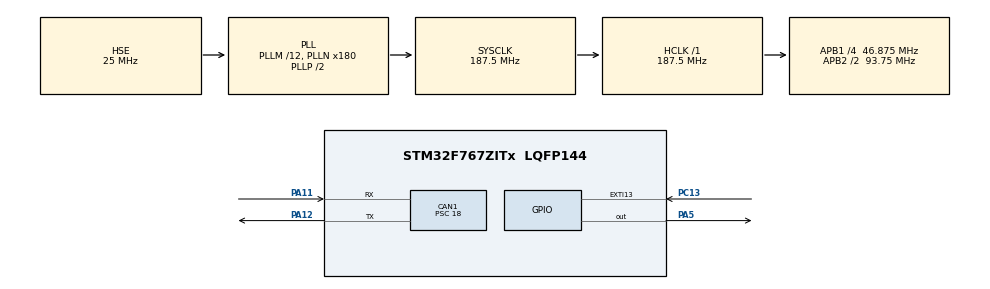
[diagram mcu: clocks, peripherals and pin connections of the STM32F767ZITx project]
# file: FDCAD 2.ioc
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CAN1.BS1=CAN_BS1_2TQ
CAN1.BS2=CAN_BS2_2TQ
CAN1.CalculateBaudRate=520833
CAN1.CalculateTimeBit=1920
CAN1.CalculateTimeQuantum=384.0
CAN1.Prescaler=18
CORTEX_M7.default_mode_Activation=1
Mcu.Family=STM32F7
Mcu.Name=STM32F767ZITx
Mcu.Package=LQFP144
NVIC.CAN1_RX0_IRQn=true\:0\:0\:false\:false\:true\:true\:true\:true
NVIC.PriorityGroup=NVIC_PRIORITYGROUP_4
PA11.Mode=CAN_Activate
PA11.Signal=CAN1_RX
PA12.Mode=CAN_Activate
PA12.Signal=CAN1_TX
PA5.Signal=GPIO_Output
PC13.Signal=GPXTI13
PH0/OSC_IN.Mode=HSE-External-Oscillator
PH0/OSC_IN.Signal=RCC_OSC_IN
PH1/OSC_OUT.Mode=HSE-External-Oscillator
PH1/OSC_OUT.Signal=RCC_OSC_OUT
ProjectManager.HeapSize=0x200
ProjectManager.StackSize=0x400
ProjectManager.TargetToolchain=STM32CubeIDE
RCC.AHBFreq_Value=187500000
RCC.APB1CLKDivider=RCC_HCLK_DIV4
RCC.APB1Freq_Value=46875000
RCC.APB1TimFreq_Value=93750000
RCC.APB2CLKDivider=RCC_HCLK_DIV2
RCC.APB2Freq_Value=93750000
RCC.APB2TimFreq_Value=187500000
RCC.CortexFreq_Value=187500000
RCC.HCLKFreq_Value=187500000
RCC.HSE_VALUE=25000000
RCC.HSI_VALUE=16000000
RCC.LSE_VALUE=32768
RCC.PLLM=12
RCC.PLLN=180
RCC.PLLSourceVirtual=RCC_PLLSOURCE_HSE
RCC.SYSCLKFreq_VALUE=187500000
RCC.SYSCLKSource=RCC_SYSCLKSOURCE_PLLCLK
RCC.USBFreq_Value=187500000
RCC.VCOOutputFreq_Value=375000000
VP_RTC_VS_RTC_Activate.Mode=RTC_Enabled
board=custom

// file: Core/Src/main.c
/* USER CODE BEGIN Header */
/**
  ******************************************************************************
  * @file           : main.c
  * @brief          : Main program body
  ******************************************************************************
  * @attention
  *
  * Copyright (c) 2024 STMicroelectronics.
  * All rights reserved.
  *
  * This software is licensed under terms that can be found in the LICENSE file
  * in the root directory of this software component.
  * If no LICENSE file comes with this software, it is provided AS-IS.
  *
  ******************************************************************************
  */
/* USER CODE END Header */
#include "main.h"
#include <string.h>

CAN_HandleTypeDef hcan1;

RTC_HandleTypeDef hrtc;

/* USER CODE BEGIN PV */
CAN_TxHeaderTypeDef TxHeader;
uint32_t TxMailbox;
uint8_t TxData[8];

void CAN_Transmit(void)
{
	char message[] = "rishabh";
    TxHeader.DLC = 7;  // Data length code (number of bytes)
    TxHeader.StdId = 0x321;  // Standard identifier (11-bit)
    TxHeader.IDE = CAN_ID_STD;  // Standard ID (not extended)
    TxHeader.RTR = CAN_RTR_DATA;  // Data frame, not a remote frame

    memcpy(TxData, message, sizeof(message)-1);

    if (HAL_CAN_AddTxMessage(&hcan1, &TxHeader, TxData, &TxMailbox) != HAL_OK)
    {
        Error_Handler();  // Error handling if message transmission fails
    }
}

CAN_RxHeaderTypeDef RxHeader;
uint8_t RxData[8];

void CAN_Receive(void)
{
    if (HAL_CAN_GetRxMessage(&hcan1, CAN_RX_FIFO0, &RxHeader, RxData) == HAL_OK)
    {
        // Process received data (RxData array contains received bytes)
    }
    else
    {
        Error_Handler();  // Error handling if message reception fails
    }
}
/* USER CODE END PV */

void SystemClock_Config(void);
static void MPU_Config(void);
static void MX_GPIO_Init(void);
static void MX_CAN1_Init(void);
static void MX_RTC_Init(void);

int main(void)
{

  /* MPU Configuration--------------------------------------------------------*/
  MPU_Config();

  /* MCU Configuration--------------------------------------------------------*/

  /* Reset of all peripherals, Initializes the Flash interface and the Systick. */
  HAL_Init();

  /* Configure the system clock */
  SystemClock_Config();

  /* Initialize all configured peripherals */
  MX_GPIO_Init();
  MX_CAN1_Init();
  MX_RTC_Init();

  /* Infinite loop */
  while (1)
  {

	  CAN_Transmit();  // Example transmission

	      // Alternatively, check for received messages
	  CAN_Receive();

	  HAL_Delay(1000);  // Add some delay between transmissions for testing
  }
}

void SystemClock_Config(void)
{
  RCC_OscInitTypeDef RCC_OscInitStruct = {0};
  RCC_ClkInitTypeDef RCC_ClkInitStruct = {0};

  /** Configure the main internal regulator output voltage
  */
  __HAL_RCC_PWR_CLK_ENABLE();
  __HAL_PWR_VOLTAGESCALING_CONFIG(PWR_REGULATOR_VOLTAGE_SCALE1);

  /** Initializes the RCC Oscillators according to the specified parameters
  * in the RCC_OscInitTypeDef structure.
  */
  RCC_OscInitStruct.OscillatorType = RCC_OSCILLATORTYPE_LSI|RCC_OSCILLATORTYPE_HSE;
  RCC_OscInitStruct.HSEState = RCC_HSE_ON;
  RCC_OscInitStruct.LSIState = RCC_LSI_ON;
  RCC_OscInitStruct.PLL.PLLState = RCC_PLL_ON;
  RCC_OscInitStruct.PLL.PLLSource = RCC_PLLSOURCE_HSE;
  RCC_OscInitStruct.PLL.PLLM = 12;
  RCC_OscInitStruct.PLL.PLLN = 180;
  RCC_OscInitStruct.PLL.PLLP = RCC_PLLP_DIV2;
  RCC_OscInitStruct.PLL.PLLQ = 2;
  RCC_OscInitStruct.PLL.PLLR = 2;
  if (HAL_RCC_OscConfig(&RCC_OscInitStruct) != HAL_OK)
  {
    Error_Handler();
  }

  /** Activate the Over-Drive mode
  */
  if (HAL_PWREx_EnableOverDrive() != HAL_OK)
  {
    Error_Handler();
  }

  /** Initializes the CPU, AHB and APB buses clocks
  */
  RCC_ClkInitStruct.ClockType = RCC_CLOCKTYPE_HCLK|RCC_CLOCKTYPE_SYSCLK
                              |RCC_CLOCKTYPE_PCLK1|RCC_CLOCKTYPE_PCLK2;
  RCC_ClkInitStruct.SYSCLKSource = RCC_SYSCLKSOURCE_PLLCLK;
  RCC_ClkInitStruct.AHBCLKDivider = RCC_SYSCLK_DIV1;
  RCC_ClkInitStruct.APB1CLKDivider = RCC_HCLK_DIV4;
  RCC_ClkInitStruct.APB2CLKDivider = RCC_HCLK_DIV2;

  if (HAL_RCC_ClockConfig(&RCC_ClkInitStruct, FLASH_LATENCY_6) != HAL_OK)
  {
    Error_Handler();
  }
}

static void MX_CAN1_Init(void)
{

  hcan1.Instance = CAN1;
  hcan1.Init.Prescaler = 18;
  hcan1.Init.Mode = CAN_MODE_NORMAL;
  hcan1.Init.SyncJumpWidth = CAN_SJW_1TQ;
  hcan1.Init.TimeSeg1 = CAN_BS1_2TQ;
  hcan1.Init.TimeSeg2 = CAN_BS2_2TQ;
  hcan1.Init.TimeTriggeredMode = DISABLE;
  hcan1.Init.AutoBusOff = DISABLE;
  hcan1.Init.AutoWakeUp = DISABLE;
  hcan1.Init.AutoRetransmission = DISABLE;
  hcan1.Init.ReceiveFifoLocked = DISABLE;
  hcan1.Init.TransmitFifoPriority = DISABLE;
  if (HAL_CAN_Init(&hcan1) != HAL_OK)
  {
    Error_Handler();
  }

}

static void MX_RTC_Init(void)
{

  /** Initialize RTC Only
  */
  hrtc.Instance = RTC;
  hrtc.Init.HourFormat = RTC_HOURFORMAT_24;
  hrtc.Init.AsynchPrediv = 127;
  hrtc.Init.SynchPrediv = 255;
  hrtc.Init.OutPut = RTC_OUTPUT_DISABLE;
  hrtc.Init.OutPutPolarity = RTC_OUTPUT_POLARITY_HIGH;
  hrtc.Init.OutPutType = RTC_OUTPUT_TYPE_OPENDRAIN;
  if (HAL_RTC_Init(&hrtc) != HAL_OK)
  {
    Error_Handler();
  }

}

static void MX_GPIO_Init(void)
{
  GPIO_InitTypeDef GPIO_InitStruct = {0};

  /* GPIO Ports Clock Enable */
  __HAL_RCC_GPIOC_CLK_ENABLE();
  __HAL_RCC_GPIOH_CLK_ENABLE();
  __HAL_RCC_GPIOA_CLK_ENABLE();

  /*Configure GPIO pin Output Level */
  HAL_GPIO_WritePin(GPIOA, GPIO_PIN_5, GPIO_PIN_RESET);

  /*Configure GPIO pin : PC13 */
  GPIO_InitStruct.Pin = GPIO_PIN_13;
  GPIO_InitStruct.Mode = GPIO_MODE_IT_RISING;
  GPIO_InitStruct.Pull = GPIO_NOPULL;
  HAL_GPIO_Init(GPIOC, &GPIO_InitStruct);

  /*Configure GPIO pin : PA5 */
  GPIO_InitStruct.Pin = GPIO_PIN_5;
  GPIO_InitStruct.Mode = GPIO_MODE_OUTPUT_PP;
  GPIO_InitStruct.Pull = GPIO_NOPULL;
  GPIO_InitStruct.Speed = GPIO_SPEED_FREQ_LOW;
  HAL_GPIO_Init(GPIOA, &GPIO_InitStruct);

}

 /* MPU Configuration */

void MPU_Config(void)
{
  MPU_Region_InitTypeDef MPU_InitStruct = {0};

  /* Disables the MPU */
  HAL_MPU_Disable();

  /** Initializes and configures the Region and the memory to be protected
  */
  MPU_InitStruct.Enable = MPU_REGION_ENABLE;
  MPU_InitStruct.Number = MPU_REGION_NUMBER0;
  MPU_InitStruct.BaseAddress = 0x0;
  MPU_InitStruct.Size = MPU_REGION_SIZE_4GB;
  MPU_InitStruct.SubRegionDisable = 0x87;
  MPU_InitStruct.TypeExtField = MPU_TEX_LEVEL0;
  MPU_InitStruct.AccessPermission = MPU_REGION_NO_ACCESS;
  MPU_InitStruct.DisableExec = MPU_INSTRUCTION_ACCESS_DISABLE;
  MPU_InitStruct.IsShareable = MPU_ACCESS_SHAREABLE;
  MPU_InitStruct.IsCacheable = MPU_ACCESS_NOT_CACHEABLE;
  MPU_InitStruct.IsBufferable = MPU_ACCESS_NOT_BUFFERABLE;

  HAL_MPU_ConfigRegion(&MPU_InitStruct);
  /* Enables the MPU */
  HAL_MPU_Enable(MPU_PRIVILEGED_DEFAULT);

}

void Error_Handler(void)
{
  __disable_irq();
  while (1)
  {
  }
}
